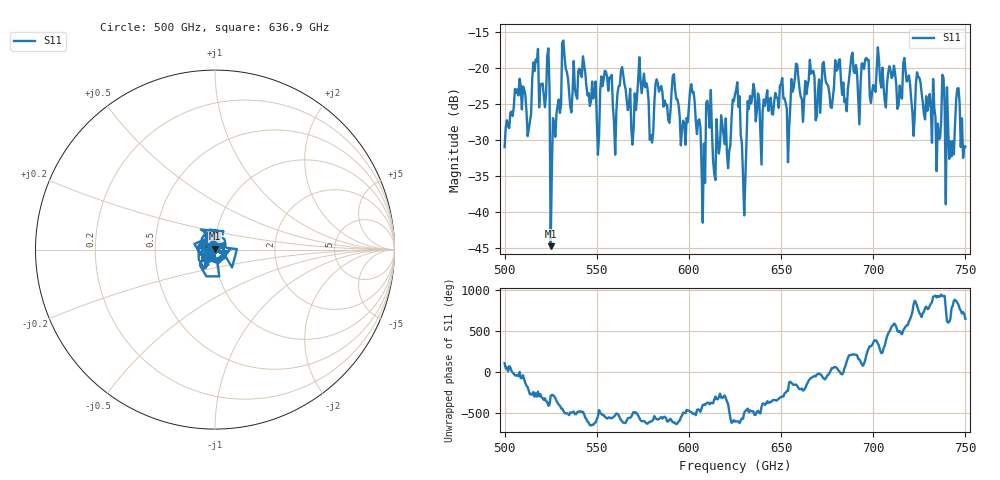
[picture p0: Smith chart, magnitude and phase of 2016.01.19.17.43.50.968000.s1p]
!Created with skrf (http://scikit-rf.org).
# GHz S RI R 50.0
!freq ReS11 ImS11
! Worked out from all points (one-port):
!   401 points, 500 GHz to 750 GHz, reference 50 ohm
!   lowest |S11| = -44.8 dB at 525 GHz (marker M1), VSWR 1.01, Z = 50.2 + j0.552 ohm
!   |S11| at or under -10 dB: start of sweep to end of sweep
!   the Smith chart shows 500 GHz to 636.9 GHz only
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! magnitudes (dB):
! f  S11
! 500 GHz  -31.0
! 506.9 GHz  -22.9
! 513.1 GHz  -28.5
! 516.9 GHz  -18.8
! 523.1 GHz  -18.3
! 525 GHz  -44.8
! 526.2 GHz  -26.9
! 531.2 GHz  -16.4
! 550 GHz  -27.0
! 562.5 GHz  -22.4
! 570 GHz  -28.4
! 576.2 GHz  -22.6
! 579.4 GHz  -29.3
! 583.1 GHz  -22.1
! 593.8 GHz  -24.3
! 601.9 GHz  -23.4
! 607.5 GHz  -41.5
! 610.6 GHz  -25.7
! 614.4 GHz  -35.6
! 625 GHz  -23.7
! 630 GHz  -40.5
! 634.4 GHz  -23.9
! 656.2 GHz  -23.3
! 687.5 GHz  -20.0
! 718.8 GHz  -21.7
! 742.5 GHz  -32.3
! 745.6 GHz  -22.8
! 750 GHz  -30.9
